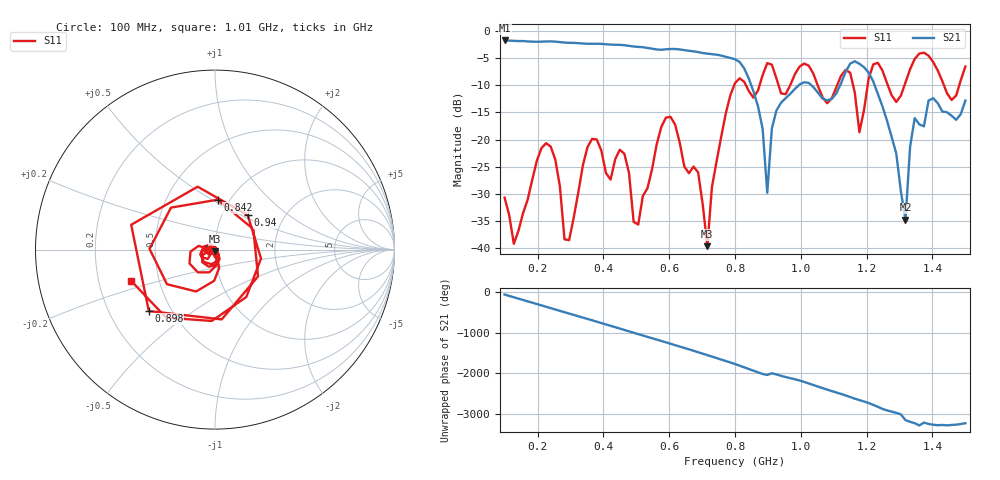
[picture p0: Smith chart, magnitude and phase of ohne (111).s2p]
! NanoVNA-App
! Date: 2025-09-25 17:39:09
! Start: 100MHz Stop: 1,5GHz Points: 101
! S-Parameter data: F S11 S21 S12 S22
# Hz S RI R 50
!  Frequency  S11_Real  S11_Imag  S21_Real  S21_Imag  S12_Real  S12_Imag  S22_Real  S22_Imag
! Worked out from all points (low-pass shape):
!   101 points, 100 MHz to 1.5 GHz, reference 50 ohm
!   highest |S21| = -1.80 dB at 100 MHz (marker M1); lowest = -34.7 dB at 1.318 GHz (marker M2)
!   |S21| within 3 dB of the highest: start of sweep to 772 MHz
!   lowest |S11| = -39.6 dB at 716 MHz (marker M3), VSWR 1.02, Z = 49.8 - j1.01 ohm
!   |S11| at or under -10 dB: start of sweep to 797.7 MHz; 832.9 MHz to 874.9 MHz (41.95 MHz wide, 4.91 % of centre); 1.051 GHz to 1.111 GHz (59.65 MHz wide, 5.52 % of centre) (the widest 3 of 7)
!   S12 and S22 are empty: the file has one direction only
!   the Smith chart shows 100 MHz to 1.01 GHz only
!   S11 on the Smith chart (normalised r, x): 100 MHz: 0.94, -0.01; 842 MHz: 0.88, +0.53; 898 MHz: 0.38, -0.34; 940 MHz: 1.32, +0.55; 1.01 GHz: 0.34, -0.16
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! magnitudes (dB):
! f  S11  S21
! 100 MHz  -30.7  -1.8
! 128 MHz  -39.2  -1.9
! 226 MHz  -20.7  -2.0
! 296 MHz  -38.5  -2.2
! 338 MHz  -24.7  -2.4
! 464 MHz  -22.6  -2.7
! 506 MHz  -35.6  -3.0
! 576 MHz  -17.7  -3.5
! 688 MHz  -26.0  -3.9
! 716 MHz  -39.6  -4.2
! 800 MHz  -9.6  -5.2
! 842 MHz  -11.1  -8.8
! 898 MHz  -6.0  -29.8
! 940 MHz  -11.5  -13.2
! 1.01 GHz  -6.0  -9.5
! 1.038 GHz  -7.9  -10.4
! 1.178 GHz  -18.7  -6.1
! 1.22 GHz  -6.2  -9.3
! 1.276 GHz  -11.9  -19.5
! 1.318 GHz  -9.5  -34.7
! 1.346 GHz  -5.2  -16.1
! 1.5 GHz  -6.6  -12.8
